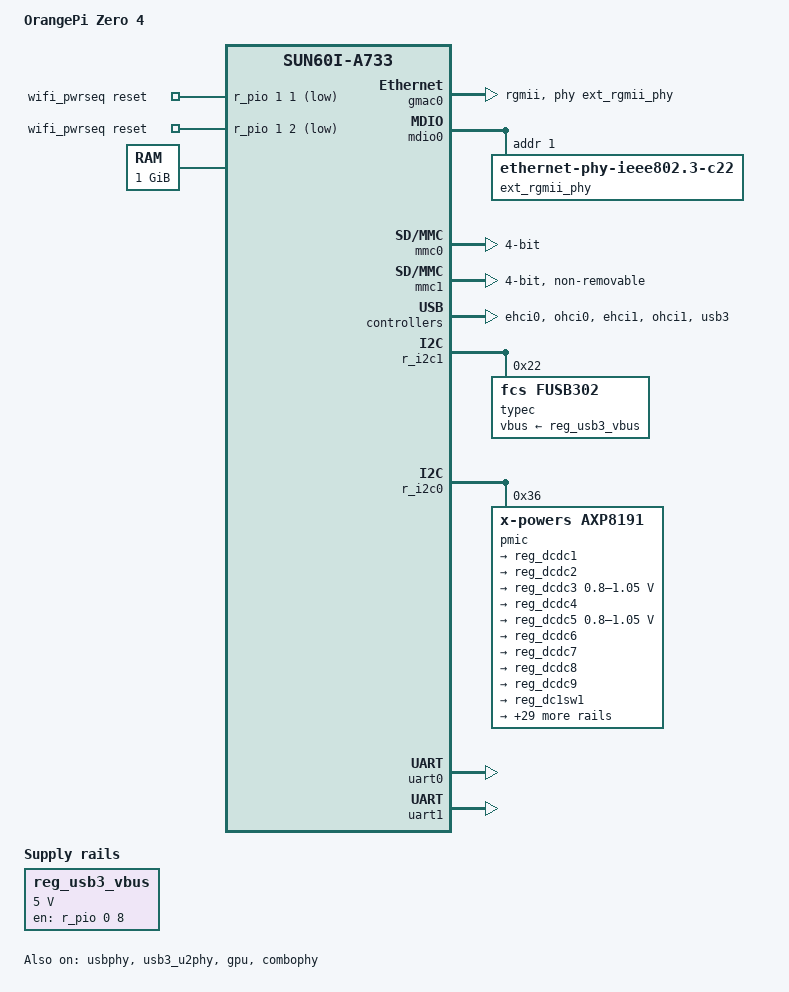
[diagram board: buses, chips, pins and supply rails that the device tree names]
// SPDX-License-Identifier: (GPL-2.0-only OR MIT)
/*
 * Orange Pi Zero 4.
 *
 * The vendor boot loader hands over with the console UART and the
 * microSD pins already configured and the card powered.
 */

/dts-v1/;

#include "sun60i-a733.dtsi"

#include <dt-bindings/gpio/gpio.h>

/ {
	model = "OrangePi Zero 4";
	compatible = "xunlong,orangepi-zero4", "allwinner,sun60i-a733";

	aliases {
		serial0 = &uart0;
		serial1 = &uart1;
	};

	chosen {
		stdout-path = "serial0:115200n8";
	};

	/*
	 * The enable pins of the AIC8800 wireless module: PM1 for the
	 * network half, PM2 for the Bluetooth half.
	 */
	/* Power of the Type-C data port, switched by PL8. */
	reg_usb3_vbus: regulator-usb3-vbus {
		compatible = "regulator-fixed";
		regulator-name = "usb3-vbus";
		regulator-min-microvolt = <5000000>;
		regulator-max-microvolt = <5000000>;
		gpio = <&r_pio 0 8 GPIO_ACTIVE_HIGH>;
		enable-active-high;
	};

	wifi_pwrseq: wifi-pwrseq {
		compatible = "mmc-pwrseq-simple";
		reset-gpios = <&r_pio 1 1 GPIO_ACTIVE_LOW>,
			      <&r_pio 1 2 GPIO_ACTIVE_LOW>;
	};

	/* The boot loader replaces the size with what it trained. */
	memory@40000000 {
		device_type = "memory";
		reg = <0x0 0x40000000 0x0 0x40000000>;
	};
};

/*
 * The MAC delays both RGMII clocks and the PHY adds nothing. Measured on
 * the board with 32 MiB of random data per 100 ps step: transmit works
 * from 0 to 1300 ps, receive from 1200 to 2700 ps. The values below are
 * the middles of those windows. The vendor's 1200 and 1000 ps sit on the
 * edge of the first window and outside the second.
 */
&gmac0 {
	phy-mode = "rgmii";
	phy-handle = <&ext_rgmii_phy>;
	pinctrl-names = "default";
	pinctrl-0 = <&gmac0_rgmii_pins>;
	allwinner,tx-delay-ps = <600>;
	allwinner,rx-delay-ps = <2000>;
	status = "okay";
};

&mdio0 {
	/* Motorcomm YT8531 */
	ext_rgmii_phy: ethernet-phy@1 {
		compatible = "ethernet-phy-ieee802.3-c22";
		reg = <1>;
	};
};

&mmc0 {
	pinctrl-names = "default";
	pinctrl-0 = <&mmc0_pins>;
	bus-width = <4>;
	/* The chip switches the supply of the card's pins to 1.8 V. */
	vqmmc-supply = <&reg_pf>;
	sd-uhs-sdr50;
	sd-uhs-sdr104;
	max-frequency = <150000000>;
	broken-cd;
	status = "okay";
};

/*
 * The AIC8800 wireless module. Its pins run at 1.8 V; the boot loader
 * leaves that supply on.
 */
&mmc1 {
	pinctrl-names = "default";
	pinctrl-0 = <&mmc1_pins>;
	bus-width = <4>;
	max-frequency = <50000000>;
	non-removable;
	mmc-pwrseq = <&wifi_pwrseq>;
	status = "okay";
};

/* Two USB 2.0 host ports; the boot loader leaves their power on. */
&usbphy {
	status = "okay";
};

&ehci0 {
	status = "okay";
};

&ohci0 {
	status = "okay";
};

&ehci1 {
	status = "okay";
};

&ohci1 {
	status = "okay";
};

/* The Type-C data port as a USB 2.0 host. */
&usb3_u2phy {
	status = "okay";
};

/*
 * The Type-C controller of the data port. It powers the port only while
 * a device is plugged in. Its interrupt line (PL9) is not described: the
 * pin controller has no interrupts, the driver polls.
 */
&r_i2c1 {
	status = "okay";

	typec@22 {
		compatible = "fcs,fusb302";
		reg = <0x22>;
		vbus-supply = <&reg_usb3_vbus>;

		connector {
			compatible = "usb-c-connector";
			label = "USB-C";
			data-role = "host";
			power-role = "source";
		};
	};
};

/* Origin: EmberBSD; enable the read-only firmware-ready GPU identity probe. */
&gpu {
	gpu-supply = <&reg_dcdc4>;
	status = "okay";
};

&combophy {
	status = "okay";
};

&usb3 {
	status = "okay";
};

/*
 * The power management chip. The vendor tree also lists an AXP515 at
 * 0x34; this board does not carry one.
 */
&r_i2c0 {
	status = "okay";

	pmic@36 {
		compatible = "x-powers,axp8191";
		reg = <0x36>;

		regulators {
			reg_dcdc1: dcdc1 {
				regulator-name = "dcdc1";
			};

			reg_dcdc2: dcdc2 {
				regulator-name = "dcdc2";
			};

			/* The big cores. */
			reg_dcdc3: dcdc3 {
				regulator-name = "dcdc3";
				regulator-min-microvolt = <800000>;
				regulator-max-microvolt = <1050000>;
			};

			reg_dcdc4: dcdc4 {
				regulator-name = "dcdc4";
			};

			/* The little cores. */
			reg_dcdc5: dcdc5 {
				regulator-name = "dcdc5";
				regulator-min-microvolt = <800000>;
				regulator-max-microvolt = <1050000>;
			};

			reg_dcdc6: dcdc6 {
				regulator-name = "dcdc6";
			};

			reg_dcdc7: dcdc7 {
				regulator-name = "dcdc7";
			};

			reg_dcdc8: dcdc8 {
				regulator-name = "dcdc8";
			};

			reg_dcdc9: dcdc9 {
				regulator-name = "dcdc9";
			};

			reg_dc1sw1: dc1sw1 {
				regulator-name = "dc1sw1";
			};

			reg_dc1sw2: dc1sw2 {
				regulator-name = "dc1sw2";
			};

			reg_aldo1: aldo1 {
				regulator-name = "aldo1";
			};

			reg_aldo2: aldo2 {
				regulator-name = "aldo2";
			};

			reg_aldo3: aldo3 {
				regulator-name = "aldo3";
			};

			reg_aldo4: aldo4 {
				regulator-name = "aldo4";
			};

			reg_aldo5: aldo5 {
				regulator-name = "aldo5";
			};

			reg_aldo6: aldo6 {
				regulator-name = "aldo6";
			};

			reg_bldo1: bldo1 {
				regulator-name = "bldo1";
			};

			reg_bldo2: bldo2 {
				regulator-name = "bldo2";
			};

			reg_bldo3: bldo3 {
				regulator-name = "bldo3";
			};

			reg_bldo4: bldo4 {
				regulator-name = "bldo4";
			};

			reg_bldo5: bldo5 {
				regulator-name = "bldo5";
			};

			reg_cldo1: cldo1 {
				regulator-name = "cldo1";
			};

			reg_cldo2: cldo2 {
				regulator-name = "cldo2";
			};

			reg_cldo3: cldo3 {
				regulator-name = "cldo3";
			};

			reg_cldo4: cldo4 {
				regulator-name = "cldo4";
			};

			reg_cldo5: cldo5 {
				regulator-name = "cldo5";
			};

			reg_dldo1: dldo1 {
				regulator-name = "dldo1";
			};

			reg_dldo2: dldo2 {
				regulator-name = "dldo2";
			};

			reg_dldo3: dldo3 {
				regulator-name = "dldo3";
			};

			reg_dldo4: dldo4 {
				regulator-name = "dldo4";
			};

			reg_dldo5: dldo5 {
				regulator-name = "dldo5";
			};

			reg_dldo6: dldo6 {
				regulator-name = "dldo6";
			};

			reg_eldo1: eldo1 {
				regulator-name = "eldo1";
			};

			reg_eldo2: eldo2 {
				regulator-name = "eldo2";
			};

			reg_eldo3: eldo3 {
				regulator-name = "eldo3";
			};

			reg_eldo4: eldo4 {
				regulator-name = "eldo4";
			};

			reg_eldo5: eldo5 {
				regulator-name = "eldo5";
			};

			reg_eldo6: eldo6 {
				regulator-name = "eldo6";
			};
		};
	};
};

/* Six little cores on one supply, two big ones on another. */
&cpu0 {
	operating-points-v2 = <&cluster0_opp_table>;
	cpu-supply = <&reg_dcdc5>;
};

&cpu1 {
	operating-points-v2 = <&cluster0_opp_table>;
	cpu-supply = <&reg_dcdc5>;
};

&cpu2 {
	operating-points-v2 = <&cluster0_opp_table>;
	cpu-supply = <&reg_dcdc5>;
};

&cpu3 {
	operating-points-v2 = <&cluster0_opp_table>;
	cpu-supply = <&reg_dcdc5>;
};

&cpu4 {
	operating-points-v2 = <&cluster0_opp_table>;
	cpu-supply = <&reg_dcdc5>;
};

&cpu5 {
	operating-points-v2 = <&cluster0_opp_table>;
	cpu-supply = <&reg_dcdc5>;
};

&cpu6 {
	operating-points-v2 = <&cluster1_opp_table>;
	cpu-supply = <&reg_dcdc3>;
};

&cpu7 {
	operating-points-v2 = <&cluster1_opp_table>;
	cpu-supply = <&reg_dcdc3>;
};

&uart0 {
	pinctrl-names = "default";
	pinctrl-0 = <&uart0_pb_pins>;
	status = "okay";
};

/* The Bluetooth half of the wireless module. */
&uart1 {
	pinctrl-names = "default";
	pinctrl-0 = <&uart1_pins>, <&uart1_rts_cts_pins>;
	uart-has-rtscts;
	auto-flow-control;
	status = "okay";
};
